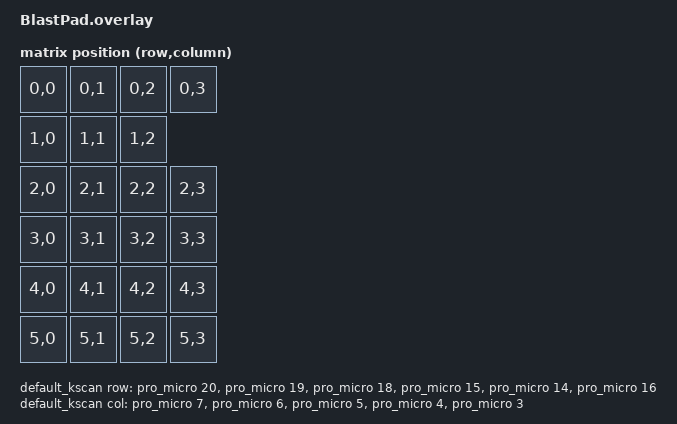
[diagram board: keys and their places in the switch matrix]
#include <dt-binding/zmk/matrix_transform.h>

/ 

{
        Chose {
                zmk,kscan = &default_kscan;
                zmk,matrix_transform = &default_transform
        };


    default_kscan: kscan0 {
        compatible = "zmk,kscan-gpio-matrix";
        diode-direction = "col2row";
        wakeup-source;

        col-gpios
            = <&pro_micro 7 GPIO_ACTIVE_HIGH>
            , <&pro_micro 6 GPIO_ACTIVE_HIGH>
            , <&pro_micro 5 GPIO_ACTIVE_HIGH>
            , <&pro_micro 4 GPIO_ACTIVE_HIGH>
            , <&pro_micro 3 GPIO_ACTIVE_HIGH>
            
            ;

        row-gpios
            = <&pro_micro 20 (GPIO_ACTIVE_HIGH | GPIO_PULL_DOWN)>
            , <&pro_micro 19 (GPIO_ACTIVE_HIGH | GPIO_PULL_DOWN)>
            , <&pro_micro 18 (GPIO_ACTIVE_HIGH | GPIO_PULL_DOWN)>
            , <&pro_micro 15 (GPIO_ACTIVE_HIGH | GPIO_PULL_DOWN)>
            , <&pro_micro 14 (GPIO_ACTIVE_HIGH | GPIO_PULL_DOWN)>
            , <&pro_micro 16 (GPIO_ACTIVE_HIGH | GPIO_PULL_DOWN)>
            ;
    };


 
    default_transform: keymap_transform0 {
        compatible = "zmk,matrix-transform";
        columns = <5>; // Length of the "col-gpios" array
        rows = <6>; // Length of the "row-gpios" array
        map = <
        //   Key 1 | Key 2 | Key 3 | Key 4 | Key 5 
            RC(0,0) RC(0,1) RC(0,2) RC(0,3) RC (0,4)
        //   Key 6 | Key 7 | Key 8 | Key 9 | Key 10
            RC(1,0) RC(1,1) RC(1,2) RC (1,3) RC (1,4)
        //   Key 11 | Key 12 | Key 13 | Key 14 | Key 15
            RC(2,0) RC(2,1) RC(2,2) RC(2,3) RC (2,4)
        //   Key 16 | Key 17 | Key 18 | Key 19 | Key 20
            RC(3,0) RC(3,1) RC(3,2) RC(3,3) RC (3,4)
        //   Key 21 | Key 22 | Key 23 | Key 24 | Key 25
            RC(4,0) RC(4,1) RC(4,2) RC(4,3) RC (4,4)
        //   Key 26 | Key 27 | Key 28 | Key 29 | Key 30
            RC(5,0) RC(5,1) RC(5,2) RC(5,3) RC (5,4)
        >;
    };
}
